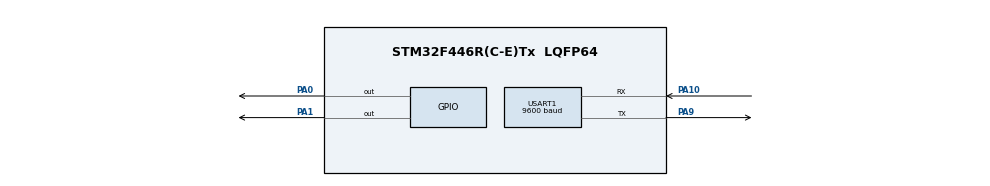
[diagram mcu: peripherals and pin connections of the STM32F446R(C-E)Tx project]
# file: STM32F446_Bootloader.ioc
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Mcu.Family=STM32F4
Mcu.Name=STM32F446R(C-E)Tx
Mcu.Package=LQFP64
NVIC.PriorityGroup=NVIC_PRIORITYGROUP_4
PA0-WKUP.Signal=GPIO_Output
PA1.Signal=GPIO_Output
PA10.Mode=Asynchronous
PA10.Signal=USART1_RX
PA13.Mode=Serial_Wire
PA13.Signal=SYS_JTMS-SWDIO
PA14.Mode=Serial_Wire
PA14.Signal=SYS_JTCK-SWCLK
PA9.Mode=Asynchronous
PA9.Signal=USART1_TX
ProjectManager.HeapSize=0x200
ProjectManager.StackSize=0x400
ProjectManager.TargetToolchain=CMake
RCC.CortexFreq_Value=16000000
RCC.USBFreq_Value=96000000
RCC.VCOOutputFreq_Value=192000000
USART1.BaudRate=9600
USART1.VirtualMode=VM_ASYNC
board=custom

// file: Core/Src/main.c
/* USER CODE BEGIN Header */
/**
  ******************************************************************************
  * @file           : main.c
  * @brief          : Main program body
  ******************************************************************************
  * @attention
  *
  * Copyright (c) 2026 STMicroelectronics.
  * All rights reserved.
  *
  * This software is licensed under terms that can be found in the LICENSE file
  * in the root directory of this software component.
  * If no LICENSE file comes with this software, it is provided AS-IS.
  *
  ******************************************************************************
  */
/* USER CODE END Header */
#include "main.h"

/* USER CODE BEGIN Includes */
#include "bl_jump.h"
#include "bl_ota.h"
#include "boot_shared.h"
#include <stdio.h>
#include <string.h>

/* USER CODE END Includes */

UART_HandleTypeDef huart1;

void SystemClock_Config(void);
static void MX_GPIO_Init(void);
static void MX_USART1_UART_Init(void);

/* USER CODE BEGIN 0 */

#define OTA_ACK            0x06     /* ASCII "ACK" byte: never appears in the text messages */
#define OTA_RX_TIMEOUT_MS  10000u   /* wait for the header or a chunk after each ACK */

static void uart_print(const char *s)
{
    HAL_UART_Transmit(&huart1, (uint8_t *)s, (uint16_t)strlen(s), 500);
}

/* Drop a byte left in the receive register and clear an overrun, so the next
   receive starts with the first byte the host sends after our ACK. */
static void uart_flush_rx(void)
{
    while (__HAL_UART_GET_FLAG(&huart1, UART_FLAG_RXNE) || __HAL_UART_GET_FLAG(&huart1, UART_FLAG_ORE))
        (void)huart1.Instance->DR;
}

/* OTA stream read: called by bl_ota_run() for the 16-byte header and each data chunk.
   Sends ACK ("ready, send the next block") and waits for exactly len bytes from the HC-05. */
static int ota_read_uart(uint8_t *buf, uint32_t len)
{
    uint8_t ack = OTA_ACK;
    uart_flush_rx();
    HAL_UART_Transmit(&huart1, &ack, 1, 100);
    if (HAL_UART_Receive(&huart1, buf, (uint16_t)len, OTA_RX_TIMEOUT_MS) != HAL_OK)
        return -1;
    return 0;
}

/* One OTA attempt over the HC-05. Prints the result, returns a BL_OTA_* code. */
static int ota_attempt(void)
{
    bl_ota_ctx_t ctx;
    ota_stream_t stream = { .read = ota_read_uart, .set_total_size = NULL };
    char msg[32];

    int err = bl_ota_run(&ctx, &stream);
    if (err == BL_OTA_OK)
    {
        uart_print("OTA done\r\n");
    }
    else
    {
        snprintf(msg, sizeof(msg), "OTA failed, err=%d\r\n", err);
        uart_print(msg);
    }
    return err;
}

/* USER CODE END 0 */

int main(void)
{

  /* MCU Configuration--------------------------------------------------------*/

  /* Reset of all peripherals, Initializes the Flash interface and the Systick. */
  HAL_Init();

  /* Configure the system clock */
  SystemClock_Config();

  /* Initialize all configured peripherals */
  MX_GPIO_Init();
  MX_USART1_UART_Init();
  /* USER CODE BEGIN 2 */

  /* The application asks for an update by leaving a request in backup SRAM and resetting */
  if (boot_take_ota_request())
  {
      uart_print("OTA mode\r\n");
      ota_attempt();   /* if no host shows up within 10 s the app is still intact and boots below */
  }

  int err = bootloader_is_app_valid();
  if (err == APP_OK)
  {
      uart_print("Booting app\r\n");
      JumpToApplication();
  }

  /* No valid application: stay in the bootloader and keep offering OTA (recovery mode) */
  char msg[48];
  snprintf(msg, sizeof(msg), "App invalid, err=%d, waiting for OTA\r\n", err);
  uart_print(msg);

  /* USER CODE END 2 */

  /* Infinite loop */
  while (1)
  {

    /* USER CODE BEGIN 3 */
    HAL_GPIO_TogglePin(GPIOA, GPIO_PIN_0);   /* LED changes state once per attempt (about every 10 s) */

    if (ota_attempt() == BL_OTA_OK && bootloader_is_app_valid() == APP_OK)
    {
        uart_print("Booting app\r\n");
        JumpToApplication();
    }
  }
  /* USER CODE END 3 */
}

void SystemClock_Config(void)
{
  RCC_OscInitTypeDef RCC_OscInitStruct = {0};
  RCC_ClkInitTypeDef RCC_ClkInitStruct = {0};

  /** Configure the main internal regulator output voltage
  */
  __HAL_RCC_PWR_CLK_ENABLE();
  __HAL_PWR_VOLTAGESCALING_CONFIG(PWR_REGULATOR_VOLTAGE_SCALE3);

  /** Initializes the RCC Oscillators according to the specified parameters
  * in the RCC_OscInitTypeDef structure.
  */
  RCC_OscInitStruct.OscillatorType = RCC_OSCILLATORTYPE_HSI;
  RCC_OscInitStruct.HSIState = RCC_HSI_ON;
  RCC_OscInitStruct.HSICalibrationValue = RCC_HSICALIBRATION_DEFAULT;
  RCC_OscInitStruct.PLL.PLLState = RCC_PLL_NONE;
  if (HAL_RCC_OscConfig(&RCC_OscInitStruct) != HAL_OK)
  {
    Error_Handler();
  }

  /** Initializes the CPU, AHB and APB buses clocks
  */
  RCC_ClkInitStruct.ClockType = RCC_CLOCKTYPE_HCLK|RCC_CLOCKTYPE_SYSCLK
                              |RCC_CLOCKTYPE_PCLK1|RCC_CLOCKTYPE_PCLK2;
  RCC_ClkInitStruct.SYSCLKSource = RCC_SYSCLKSOURCE_HSI;
  RCC_ClkInitStruct.AHBCLKDivider = RCC_SYSCLK_DIV1;
  RCC_ClkInitStruct.APB1CLKDivider = RCC_HCLK_DIV1;
  RCC_ClkInitStruct.APB2CLKDivider = RCC_HCLK_DIV1;

  if (HAL_RCC_ClockConfig(&RCC_ClkInitStruct, FLASH_LATENCY_0) != HAL_OK)
  {
    Error_Handler();
  }
}

static void MX_USART1_UART_Init(void)
{

  huart1.Instance = USART1;
  huart1.Init.BaudRate = 9600;
  huart1.Init.WordLength = UART_WORDLENGTH_8B;
  huart1.Init.StopBits = UART_STOPBITS_1;
  huart1.Init.Parity = UART_PARITY_NONE;
  huart1.Init.Mode = UART_MODE_TX_RX;
  huart1.Init.HwFlowCtl = UART_HWCONTROL_NONE;
  huart1.Init.OverSampling = UART_OVERSAMPLING_16;
  if (HAL_UART_Init(&huart1) != HAL_OK)
  {
    Error_Handler();
  }

}

static void MX_GPIO_Init(void)
{
  GPIO_InitTypeDef GPIO_InitStruct = {0};

  /* GPIO Ports Clock Enable */
  __HAL_RCC_GPIOA_CLK_ENABLE();

  /*Configure GPIO pin Output Level */
  HAL_GPIO_WritePin(GPIOA, GPIO_PIN_0|GPIO_PIN_1, GPIO_PIN_RESET);

  /*Configure GPIO pins : PA0 PA1 */
  GPIO_InitStruct.Pin = GPIO_PIN_0|GPIO_PIN_1;
  GPIO_InitStruct.Mode = GPIO_MODE_OUTPUT_PP;
  GPIO_InitStruct.Pull = GPIO_NOPULL;
  GPIO_InitStruct.Speed = GPIO_SPEED_FREQ_LOW;
  HAL_GPIO_Init(GPIOA, &GPIO_InitStruct);

}

void Error_Handler(void)
{
  __disable_irq();
  while (1)
  {
  }
}
